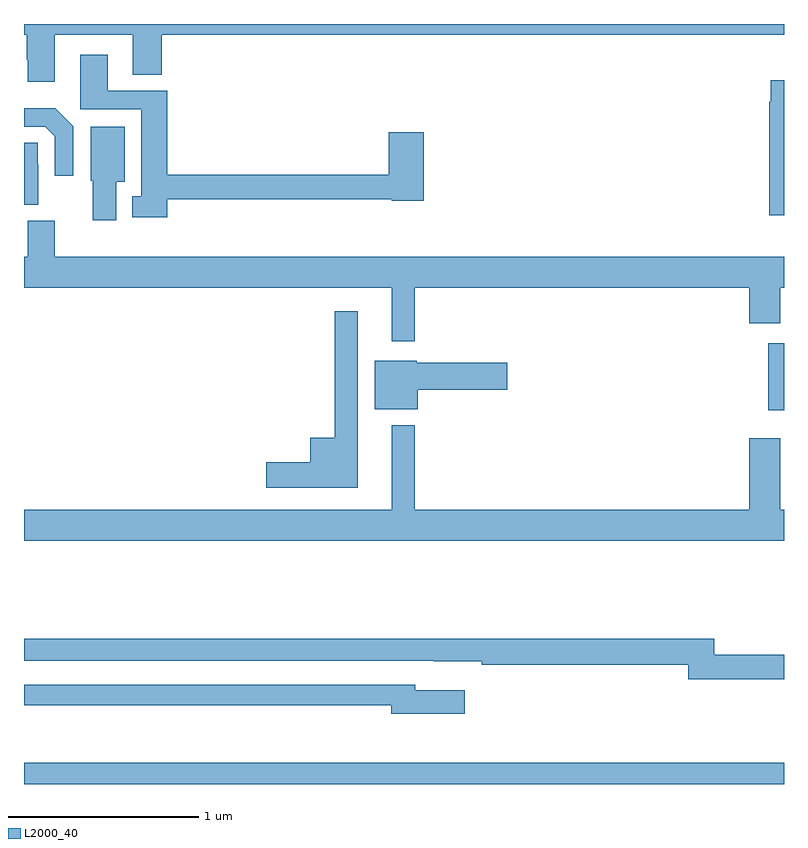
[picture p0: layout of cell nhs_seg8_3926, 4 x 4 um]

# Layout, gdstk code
import gdstk
lib = gdstk.Library(unit=1e-6, precision=1e-09)
def R(c, l, rs):  # rectangles x0, y0, x1, y1
    for r in rs: c.add(gdstk.rectangle(r[:2], r[2:], *l))
def P(c, l, *ps):  # polygons
    for p in ps: c.add(gdstk.Polygon(p, *l))
L2000_40 = (2000, 40)

nhs_seg8_3926 = lib.new_cell('nhs_seg8_3926')
R(nhs_seg8_3926, L2000_40, [(353,1101.9,357,1102.012), (356.918,1103.867,357,1104.22)])
P(nhs_seg8_3926, L2000_40, [(353.161,1105.844),(353.573,1105.844),(353.573,1105.633),(353.726,1105.633),(353.726,1105.844),(357,1105.844),(357,1105.9),(353,1105.9),(353,1105.844),(353.014,1105.844),(353.014,1105.711),(353.021,1105.711),(353.021,1105.596),(353.161,1105.596)],
  [(353.753,1104.978),(354.936,1104.978),(354.936,1104.97),(355.103,1104.97),(355.103,1105.33),(354.92,1105.33),(354.92,1105.106),(353.753,1105.106),(353.753,1105.548),(353.44,1105.548),(353.44,1105.738),(353.297,1105.738),(353.297,1105.452),(353.618,1105.452),(353.618,1104.994),(353.57,1104.994),(353.57,1104.884),(353.753,1104.884)],
  [(357,1105.603),(356.931,1105.603),(356.931,1105.49),(356.923,1105.49),(356.923,1104.893),(357,1104.893)],
  [(353.259,1105.362),(353.165,1105.456),(353,1105.456),(353,1105.359),(353.112,1105.359),(353.163,1105.308),(353.163,1105.101),(353.259,1105.101)],
  [(353.485,1105.07),(353.53,1105.07),(353.53,1105.36),(353.351,1105.36),(353.351,1105.074),(353.363,1105.074),(353.363,1104.867),(353.485,1104.867)],
  [(353.074,1105.163),(353.073,1105.163),(353.073,1105.274),(353,1105.274),(353,1104.949),(353.074,1104.949)],
  [(355.057,1104.512),(356.816,1104.512),(356.816,1104.324),(356.98,1104.324),(356.98,1104.512),(357,1104.512),(357,1104.676),(353.161,1104.676),(353.161,1104.864),(353.021,1104.864),(353.021,1104.676),(353,1104.676),(353,1104.512),(354.935,1104.512),(354.935,1104.231),(355.057,1104.231)],
  [(354.757,1104.388),(354.636,1104.388),(354.636,1103.722),(354.506,1103.722),(354.506,1103.594),(354.276,1103.594),(354.276,1103.459),(354.757,1103.459)],
  [(355.072,1103.975),(355.543,1103.975),(355.543,1104.117),(355.068,1104.117),(355.068,1104.127),(354.845,1104.127),(354.845,1103.873),(355.072,1103.873)],
  [(357,1103.344),(356.98,1103.344),(356.98,1103.719),(356.816,1103.719),(356.816,1103.344),(355.057,1103.344),(355.057,1103.788),(354.935,1103.788),(354.935,1103.344),(353,1103.344),(353,1103.18),(357,1103.18)],
  [(357,1102.58),(356.633,1102.58),(356.633,1102.664),(353,1102.664),(353,1102.548),(355.156,1102.548),(355.156,1102.547),(355.408,1102.547),(355.408,1102.528),(356.497,1102.528),(356.497,1102.452),(357,1102.452)],
  [(355.321,1102.393),(355.06,1102.393),(355.06,1102.422),(353,1102.422),(353,1102.314),(354.932,1102.314),(354.932,1102.271),(355.321,1102.271)])

lib.write_gds('nhs_seg8_3926.gds')
